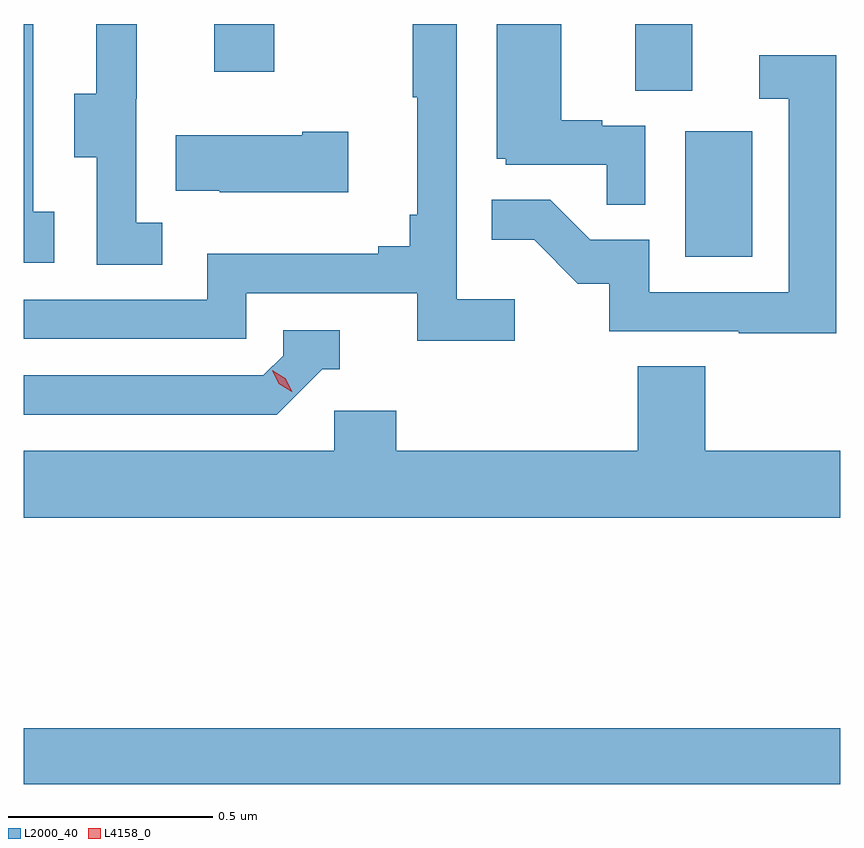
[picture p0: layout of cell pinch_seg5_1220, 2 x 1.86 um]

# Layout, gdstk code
import gdstk
lib = gdstk.Library(unit=1e-6, precision=1e-09)
def R(c, l, rs):  # rectangles x0, y0, x1, y1
    for r in rs: c.add(gdstk.rectangle(r[:2], r[2:], *l))
def P(c, l, *ps):  # polygons
    for p in ps: c.add(gdstk.Polygon(p, *l))
L2000_40 = (2000, 40)
L4158_0 = (4158, 0)

pinch_seg5_1220 = lib.new_cell('pinch_seg5_1220')
R(pinch_seg5_1220, L2000_40, [(879.247,836.128,881.247,836.264), (880.868,837.42,881.032,837.727), (880.745,837.826,880.885,837.99), (879.713,837.873,879.861,837.99)])
P(pinch_seg5_1220, L2000_40, [(880.45,837.316),(880.308,837.316),(880.308,837.99),(880.2,837.99),(880.2,837.811),(880.211,837.811),(880.211,837.523),(880.192,837.523),(880.192,837.446),(880.115,837.446),(880.115,837.427),(879.696,837.427),(879.696,837.315),(879.247,837.315),(879.247,837.219),(879.792,837.219),(879.792,837.33),(880.211,837.33),(880.211,837.214),(880.45,837.214)],
  [(879.322,837.53),(879.27,837.53),(879.27,837.99),(879.247,837.99),(879.247,837.405),(879.322,837.405)],
  [(879.586,837.503),(879.522,837.503),(879.522,837.807),(879.524,837.807),(879.524,837.99),(879.425,837.99),(879.425,837.819),(879.371,837.819),(879.371,837.664),(879.426,837.664),(879.426,837.4),(879.586,837.4)],
  [(880.77,837.741),(880.664,837.741),(880.664,837.754),(880.564,837.754),(880.564,837.99),(880.406,837.99),(880.406,837.66),(880.428,837.66),(880.428,837.645),(880.675,837.645),(880.675,837.547),(880.77,837.547)],
  [(881.237,837.913),(881.049,837.913),(881.049,837.807),(881.121,837.807),(881.121,837.333),(880.779,837.333),(880.779,837.462),(880.635,837.462),(880.537,837.56),(880.393,837.56),(880.393,837.461),(880.497,837.461),(880.604,837.354),(880.681,837.354),(880.681,837.237),(880.999,837.237),(880.999,837.232),(881.237,837.232)],
  [(880.042,837.726),(879.929,837.726),(879.929,837.718),(879.619,837.718),(879.619,837.581),(879.727,837.581),(879.727,837.578),(880.042,837.578)],
  [(879.978,837.144),(880.021,837.144),(880.021,837.24),(879.882,837.24),(879.882,837.177),(879.834,837.129),(879.247,837.129),(879.247,837.033),(879.867,837.033)],
  [(881.247,836.944),(880.916,836.944),(880.916,837.152),(880.751,837.152),(880.751,836.944),(880.16,836.944),(880.16,837.042),(880.008,837.042),(880.008,836.944),(879.247,836.944),(879.247,836.78),(881.247,836.78)])
P(pinch_seg5_1220, L4158_0, [(879.903,837.089),(879.872,837.109),(879.856,837.142),(879.856,837.142),(879.856,837.142),(879.887,837.122),(879.904,837.089),(879.904,837.089)])

lib.write_gds('pinch_seg5_1220.gds')
